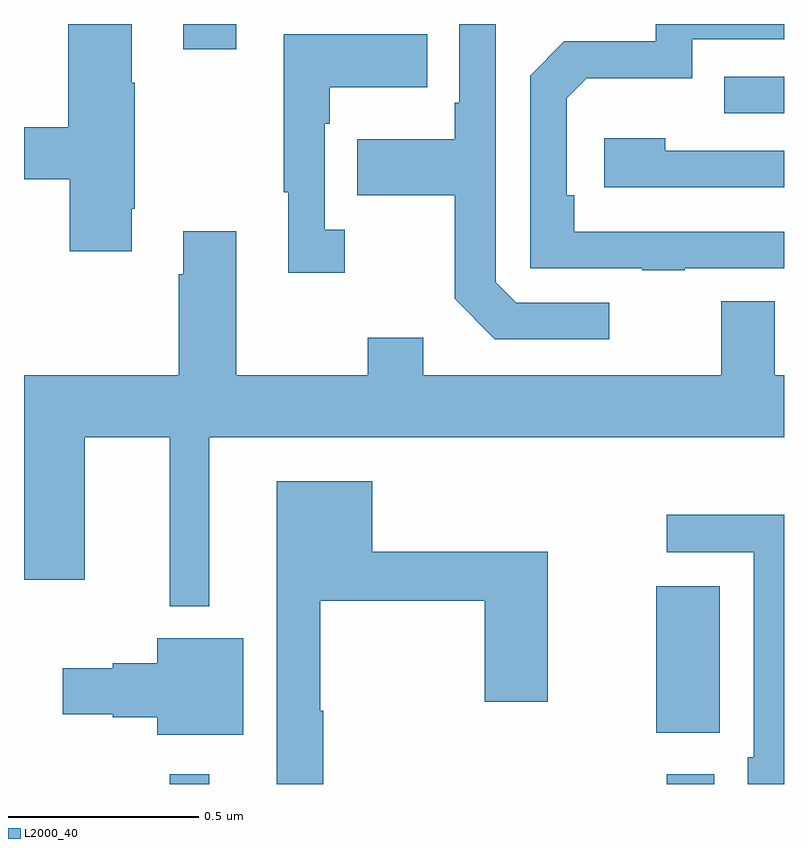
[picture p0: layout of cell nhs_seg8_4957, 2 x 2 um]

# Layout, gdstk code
import gdstk
lib = gdstk.Library(unit=1e-6, precision=1e-09)
def R(c, l, rs):  # rectangles x0, y0, x1, y1
    for r in rs: c.add(gdstk.rectangle(r[:2], r[2:], *l))
def P(c, l, *ps):  # polygons
    for p in ps: c.add(gdstk.Polygon(p, *l))
L2000_40 = (2000, 40)

nhs_seg8_4957 = lib.new_cell('nhs_seg8_4957')
R(nhs_seg8_4957, L2000_40, [(177.383,1136.9,177.487,1136.926), (178.691,1136.9,178.816,1136.926), (178.664,1137.035,178.831,1137.421), (178.843,1138.665,179,1138.761), (177.419,1138.833,177.559,1138.9)])
P(nhs_seg8_4957, L2000_40, [(177.283,1138.414),(177.291,1138.414),(177.291,1138.745),(177.283,1138.745),(177.283,1138.9),(177.116,1138.9),(177.116,1138.628),(177,1138.628),(177,1138.492),(177.121,1138.492),(177.121,1138.302),(177.283,1138.302)],
  [(178.54,1138.167),(178.296,1138.167),(178.242,1138.221),(178.242,1138.9),(178.146,1138.9),(178.146,1138.693),(178.134,1138.693),(178.134,1138.597),(177.877,1138.597),(177.877,1138.45),(178.134,1138.45),(178.134,1138.177),(178.239,1138.071),(178.54,1138.071)],
  [(178.739,1138.257),(179,1138.257),(179,1138.353),(178.448,1138.353),(178.448,1138.45),(178.428,1138.45),(178.428,1138.704),(178.481,1138.757),(178.758,1138.757),(178.758,1138.86),(179,1138.86),(179,1138.9),(178.662,1138.9),(178.662,1138.854),(178.422,1138.854),(178.332,1138.764),(178.332,1138.257),(178.627,1138.257),(178.627,1138.252),(178.739,1138.252)],
  [(177.844,1138.358),(177.792,1138.358),(177.792,1138.637),(177.805,1138.637),(177.805,1138.733),(178.061,1138.733),(178.061,1138.873),(177.684,1138.873),(177.684,1138.457),(177.695,1138.457),(177.695,1138.245),(177.844,1138.245)],
  [(179,1138.566),(178.688,1138.566),(178.688,1138.6),(178.527,1138.6),(178.527,1138.47),(179,1138.47)],
  [(177.487,1137.812),(179,1137.812),(179,1137.976),(178.975,1137.976),(178.975,1138.171),(178.835,1138.171),(178.835,1137.976),(178.051,1137.976),(178.051,1138.075),(177.904,1138.075),(177.904,1137.976),(177.559,1137.976),(177.559,1138.354),(177.419,1138.354),(177.419,1138.241),(177.407,1138.241),(177.407,1137.976),(177,1137.976),(177,1137.438),(177.16,1137.438),(177.16,1137.812),(177.383,1137.812),(177.383,1137.368),(177.487,1137.368)],
  [(177.787,1137.093),(177.779,1137.093),(177.779,1137.382),(178.213,1137.382),(178.213,1137.117),(178.378,1137.117),(178.378,1137.511),(177.916,1137.511),(177.916,1137.697),(177.665,1137.697),(177.665,1136.9),(177.787,1136.9)],
  [(179,1137.608),(178.692,1137.608),(178.692,1137.51),(178.92,1137.51),(178.92,1136.97),(178.904,1136.97),(178.904,1136.9),(179,1136.9)],
  [(177.577,1137.283),(177.35,1137.283),(177.35,1137.218),(177.234,1137.218),(177.234,1137.205),(177.102,1137.205),(177.102,1137.083),(177.234,1137.083),(177.234,1137.076),(177.35,1137.076),(177.35,1137.029),(177.577,1137.029)])

lib.write_gds('nhs_seg8_4957.gds')
